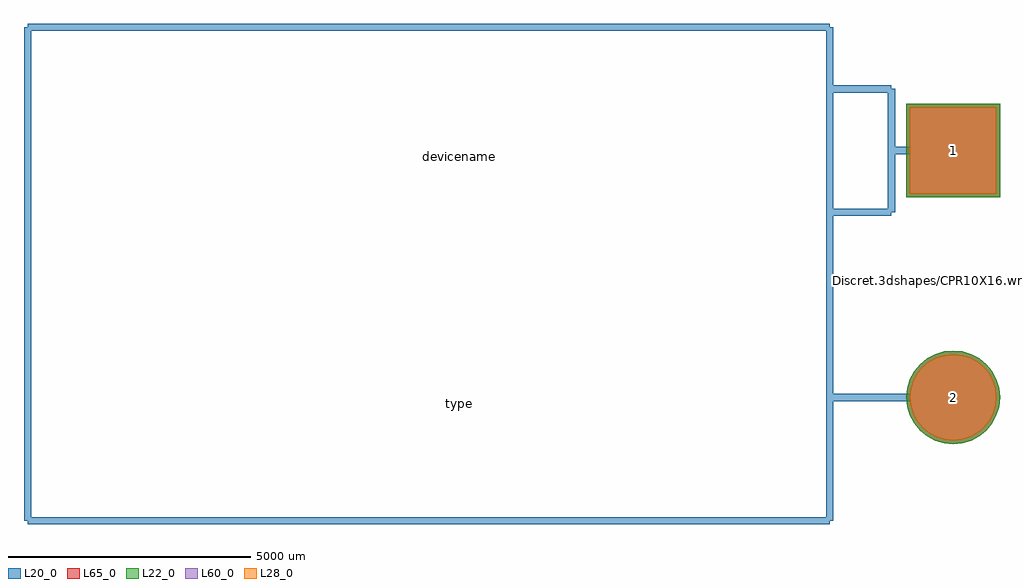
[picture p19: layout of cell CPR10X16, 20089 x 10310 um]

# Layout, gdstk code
import gdstk
lib = gdstk.Library(unit=1e-6, precision=1e-09)
def R(c, l, rs):  # rectangles x0, y0, x1, y1
    for r in rs: c.add(gdstk.rectangle(r[:2], r[2:], *l))
def P(c, l, *ps):  # polygons
    for p in ps: c.add(gdstk.Polygon(p, *l))
L20_0 = (20, 0)
L22_0 = (22, 0)
L28_0 = (28, 0)
L60_0 = (60, 0)
L65_0 = (65, 0)

cpr10x16 = lib.new_cell('CPR10X16')
R(cpr10x16, L22_0, [(-964,1703,964,3631)])
P(cpr10x16, L22_0, [(964,-2413),(945.477,-2224.933),(890.62,-2044.093),(801.537,-1877.43),(681.651,-1731.349),(535.57,-1611.463),(368.907,-1522.38),(188.067,-1467.523),(0,-1449),(-188.067,-1467.523),(-368.907,-1522.38),(-535.57,-1611.463),(-681.651,-1731.349),(-801.537,-1877.43),(-890.62,-2044.093),(-945.477,-2224.933),(-964,-2413),(-945.477,-2601.067),(-890.62,-2781.907),(-801.537,-2948.57),(-681.651,-3094.651),(-535.57,-3214.537),(-368.907,-3303.62),(-188.067,-3358.477),(0,-3377),(188.067,-3358.477),(368.907,-3303.62),(535.57,-3214.537),(681.651,-3094.651),(801.537,-2948.57),(890.62,-2781.907),(945.477,-2601.067)])
R(cpr10x16, L28_0, [(-889,1778,889,3556)])
P(cpr10x16, L28_0, [(889,-2413),(871.918,-2239.565),(821.329,-2072.794),(739.176,-1919.098),(628.618,-1784.382),(493.902,-1673.824),(340.206,-1591.671),(173.435,-1541.082),(0,-1524),(-173.435,-1541.082),(-340.206,-1591.671),(-493.902,-1673.824),(-628.618,-1784.382),(-739.176,-1919.098),(-821.329,-2072.794),(-871.918,-2239.565),(-889,-2413),(-871.918,-2586.435),(-821.329,-2753.206),(-739.176,-2906.902),(-628.618,-3041.618),(-493.902,-3152.176),(-340.206,-3234.329),(-173.435,-3284.918),(0,-3302),(173.435,-3284.918),(340.206,-3234.329),(493.902,-3152.176),(628.618,-3041.618),(739.176,-2906.902),(821.329,-2753.206),(871.918,-2586.435)])
R(cpr10x16, L60_0, [(-889,1778,889,3556)])
P(cpr10x16, L60_0, [(889,-2413),(871.918,-2239.565),(821.329,-2072.794),(739.176,-1919.098),(628.618,-1784.382),(493.902,-1673.824),(340.206,-1591.671),(173.435,-1541.082),(0,-1524),(-173.435,-1541.082),(-340.206,-1591.671),(-493.902,-1673.824),(-628.618,-1784.382),(-739.176,-1919.098),(-821.329,-2072.794),(-871.918,-2239.565),(-889,-2413),(-871.918,-2586.435),(-821.329,-2753.206),(-739.176,-2906.902),(-628.618,-3041.618),(-493.902,-3152.176),(-340.206,-3234.329),(-173.435,-3284.918),(0,-3302),(173.435,-3284.918),(340.206,-3234.329),(493.902,-3152.176),(628.618,-3041.618),(739.176,-2906.902),(821.329,-2753.206),(871.918,-2586.435)])
R(cpr10x16, L65_0, [(-964,1703,964,3631)])
P(cpr10x16, L65_0, [(964,-2413),(945.477,-2224.933),(890.62,-2044.093),(801.537,-1877.43),(681.651,-1731.349),(535.57,-1611.463),(368.907,-1522.38),(188.067,-1467.523),(0,-1449),(-188.067,-1467.523),(-368.907,-1522.38),(-535.57,-1611.463),(-681.651,-1731.349),(-801.537,-1877.43),(-890.62,-2044.093),(-945.477,-2224.933),(-964,-2413),(-945.477,-2601.067),(-890.62,-2781.907),(-801.537,-2948.57),(-681.651,-3094.651),(-535.57,-3214.537),(-368.907,-3303.62),(-188.067,-3358.477),(0,-3377),(188.067,-3358.477),(368.907,-3303.62),(535.57,-3214.537),(681.651,-3094.651),(801.537,-2948.57),(890.62,-2781.907),(945.477,-2601.067)])
cpr10x16.add(gdstk.FlexPath([(-2540,-2413),(0,-2413)], 149.998, ends="flush", simple_path=True, layer=20, datatype=0))  # L20_0
cpr10x16.add(gdstk.FlexPath([(-1270,2667),(0,2667)], 149.998, ends="flush", simple_path=True, layer=20, datatype=0))  # L20_0
cpr10x16.add(gdstk.FlexPath([(-1270,1397),(-2540,1397)], 149.998, ends="flush", simple_path=True, layer=20, datatype=0))  # L20_0
cpr10x16.add(gdstk.FlexPath([(-1270,3937),(-1270,1397)], 149.998, ends="flush", simple_path=True, layer=20, datatype=0))  # L20_0
cpr10x16.add(gdstk.FlexPath([(-2540,3937),(-1270,3937)], 149.998, ends="flush", simple_path=True, layer=20, datatype=0))  # L20_0
cpr10x16.add(gdstk.FlexPath([(-2540,-4953),(-2540,5207)], 149.998, ends="flush", simple_path=True, layer=20, datatype=0))  # L20_0
cpr10x16.add(gdstk.FlexPath([(-19050,-4953),(-2540,-4953)], 149.998, ends="flush", simple_path=True, layer=20, datatype=0))  # L20_0
cpr10x16.add(gdstk.FlexPath([(-19050,5207),(-19050,-4953)], 149.998, ends="flush", simple_path=True, layer=20, datatype=0))  # L20_0
cpr10x16.add(gdstk.FlexPath([(-2540,5207),(-19050,5207)], 149.998, ends="flush", simple_path=True, layer=20, datatype=0))  # L20_0
cpr10x16.add(gdstk.Label('Discret.3dshapes/CPR10X16.wrl', (0,0), layer=12, texttype=0))
cpr10x16.add(gdstk.Label('2', (0,-2413), layer=28, texttype=0))
cpr10x16.add(gdstk.Label('1', (0,2667), layer=28, texttype=0))
cpr10x16.add(gdstk.Label('type', (-10160,-2540), layer=9, texttype=0))
cpr10x16.add(gdstk.Label('devicename', (-10160,2540), layer=9, texttype=0))

lib.write_gds('CPR10X16.gds')
